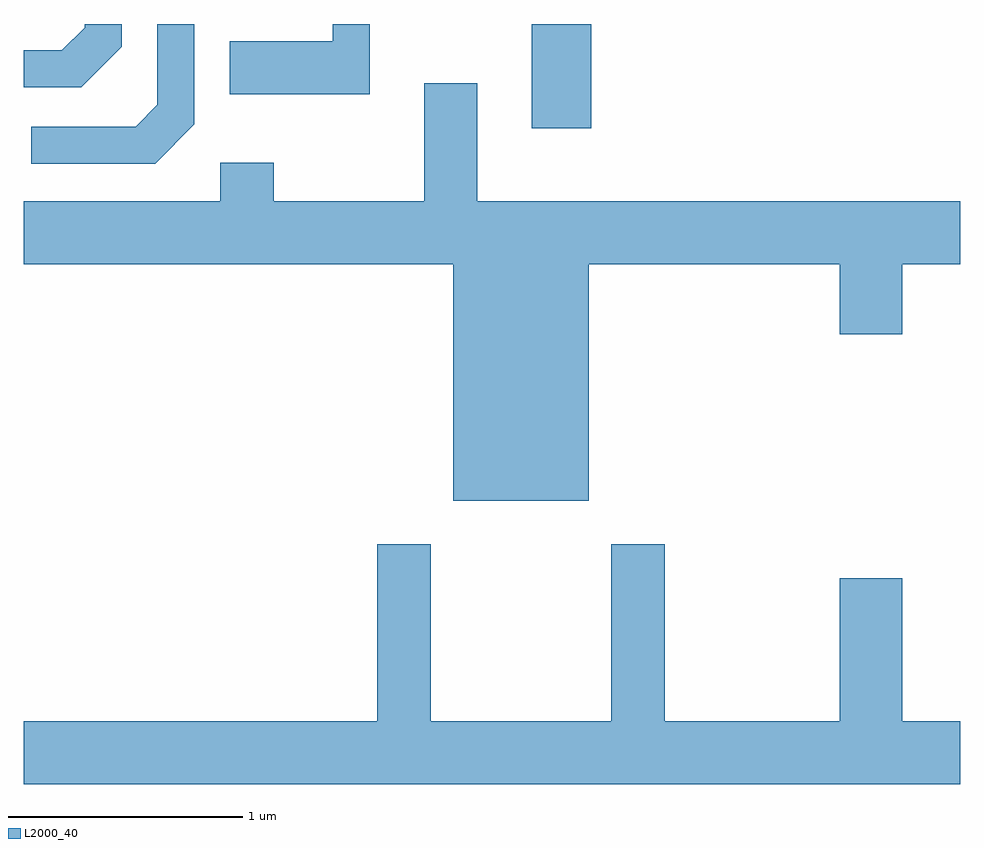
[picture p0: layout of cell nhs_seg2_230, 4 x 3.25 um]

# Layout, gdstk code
import gdstk
lib = gdstk.Library(unit=1e-6, precision=1e-09)
def R(c, l, rs):  # rectangles x0, y0, x1, y1
    for r in rs: c.add(gdstk.rectangle(r[:2], r[2:], *l))
def P(c, l, *ps):  # polygons
    for p in ps: c.add(gdstk.Polygon(p, *l))
L2000_40 = (2000, 40)

nhs_seg2_230 = lib.new_cell('nhs_seg2_230')
R(nhs_seg2_230, L2000_40, [(193.781,1033.356,194.034,1033.802)])
P(nhs_seg2_230, L2000_40, [(192.339,1033.373),(192.339,1033.802),(192.181,1033.802),(192.181,1033.457),(192.089,1033.364),(191.643,1033.364),(191.643,1033.206),(192.172,1033.206)],
  [(193.089,1033.802),(192.931,1033.802),(192.931,1033.729),(192.491,1033.729),(192.491,1033.501),(193.089,1033.501)],
  [(192.029,1033.704),(192.029,1033.802),(191.871,1033.802),(191.871,1033.786),(191.774,1033.689),(191.611,1033.689),(191.611,1033.531),(191.857,1033.531)],
  [(194.024,1032.776),(195.096,1032.776),(195.096,1032.476),(195.364,1032.476),(195.364,1032.776),(195.611,1032.776),(195.611,1033.044),(193.549,1033.044),(193.549,1033.549),(193.321,1033.549),(193.321,1033.044),(192.679,1033.044),(192.679,1033.209),(192.451,1033.209),(192.451,1033.044),(191.611,1033.044),(191.611,1032.776),(193.446,1032.776),(193.446,1031.766),(194.024,1031.766)],
  [(195.611,1030.824),(195.364,1030.824),(195.364,1031.434),(195.096,1031.434),(195.096,1030.824),(194.349,1030.824),(194.349,1031.579),(194.121,1031.579),(194.121,1030.824),(193.349,1030.824),(193.349,1031.579),(193.121,1031.579),(193.121,1030.824),(191.611,1030.824),(191.611,1030.556),(195.611,1030.556)])

lib.write_gds('nhs_seg2_230.gds')
